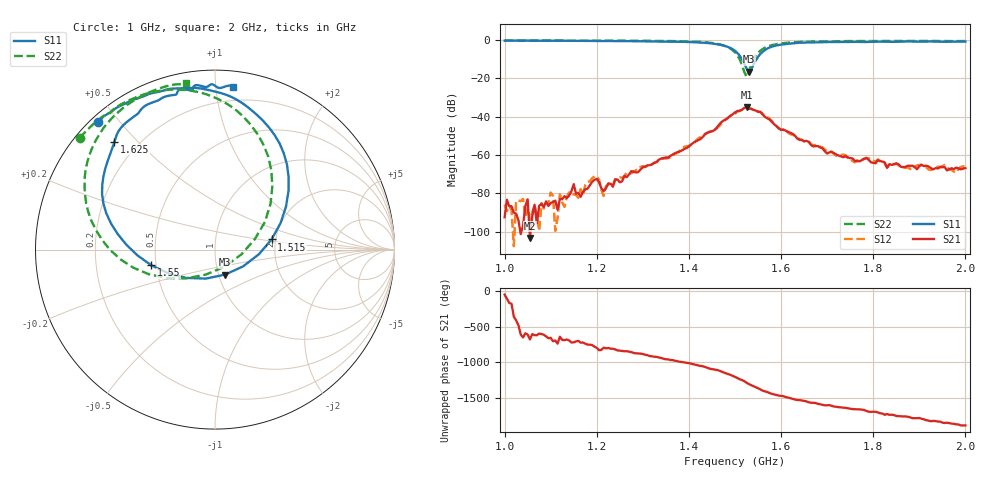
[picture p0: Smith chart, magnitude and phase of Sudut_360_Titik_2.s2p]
# Hz S RI R 50
! CMT, C1220, 16058040, 17.2.0/1
! Date: 14/08/2018 12:50:28
! Data: Format (Calibration Info)
! Freq  S11: Re/Im (F2)  S21: Re/Im (F2)  S12: Re/Im (F2)  S22: Re/Im (F2)
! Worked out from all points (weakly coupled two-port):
!   201 points, 1 GHz to 2 GHz, reference 50 ohm
!   highest |S21| = -34.96 dB at 1.525 GHz (marker M1); lowest = -103.2 dB at 1.055 GHz (marker M2)
!   lowest |S11| = -16.5 dB at 1.53 GHz (marker M3), VSWR 1.35, Z = 53.8 - j15.3 ohm
!   |S11| at or under -10 dB: 1.515 GHz to 1.547 GHz (31.44 MHz wide, 2.05 % of centre)
!   |S22| runs from -19.2 to -0.2 dB; largest |S21 - S12| = 0.00081
!   S11 on the Smith chart (normalised r, x): 1 GHz: 0.02, +0.44; 1.515 GHz: 1.90, +0.24; 1.55 GHz: 0.47, -0.09; 1.625 GHz: 0.12, +0.43; 2 GHz: 0.10, +1.11
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1e9  -0.6515 0.7133  1.43e-05 -1.93e-05  -4.94e-05 1.35e-05  -0.7538 0.6216
1.055e9  -0.603 0.753  5.3e-06 4.47e-06  -6.98e-06 1.94e-05  -0.7164 0.662
1.14e9  -0.5092 0.8095  7.87e-05 3.84e-05  9.72e-05 4.3e-05  -0.6473 0.7249
1.15e9  -0.501 0.813  0.000175 -2.19e-06  9.49e-05 -7.83e-07  -0.6382 0.7321
1.155e9  -0.4974 0.8149  9.59e-05 2.24e-05  8.69e-05 2.85e-05  -0.6334 0.736
1.17e9  -0.4814 0.8231  0.000109 -4.21e-06  7.9e-05 -4.32e-05  -0.6183 0.7468
1.195e9  -0.4452 0.8386  0.000111 -0.000198  0.000137 -0.000242  -0.5896 0.7598
1.215e9  -0.4241 0.8443  3.19e-05 -0.000112  -1.75e-05 -8.47e-05  -0.5779 0.7686
1.24e9  -0.381 0.8611  -3.57e-05 -0.000224  -3.96e-05 -0.000235  -0.5513 0.7921
1.335e9  -0.2199 0.8973  -0.000652 0.000394  -0.000632 0.000455  -0.404 0.8616
1.45e9  0.1825 0.7937  0.00403 -0.00105  0.00403 -0.00131  0.0191 0.8377
1.5e9  0.4097 0.3263  -0.00682 -0.0111  -0.00638 -0.0104  0.3194 0.3526
1.515e9  0.3151 0.0563  -0.0147 -0.00375  -0.0146 -0.00419  0.2221 0.0584
1.525e9  0.1575 -0.093  -0.0165 0.00694  -0.0167 0.00689  0.0537 -0.095
1.53e9  0.0573 -0.1389  -0.0123 0.0109  -0.0125 0.0109  -0.0527 -0.1397
1.55e9  -0.355 -0.0874  0.00228 0.0134  0.00175 0.0135  -0.4549 -0.101
1.58e9  -0.6221 0.2578  0.00732 0.000168  0.00763 -0.00015  -0.7062 0.2107
1.625e9  -0.5602 0.6012  0.00131 -0.00336  0.00133 -0.00311  -0.7025 0.5172
1.67e9  -0.4467 0.7444  -0.000922 -0.00141  -0.000961 -0.00149  -0.6276 0.6678
1.835e9  -0.1366 0.8871  0.000204 0.000544  0.000141 0.000543  -0.3814 0.8695
1.98e9  0.073 0.9131  0.000207 -0.000425  0.000177 -0.000302  -0.1834 0.9212
2e9  0.1017 0.906  8.39e-05 -0.00045  7.16e-05 -0.000503  -0.1595 0.93
